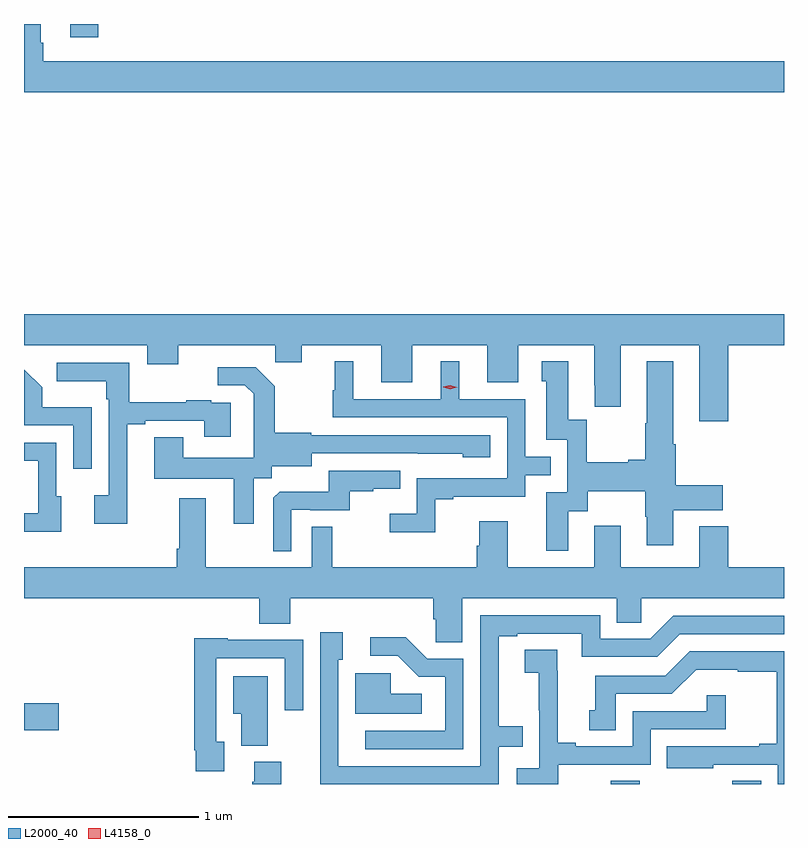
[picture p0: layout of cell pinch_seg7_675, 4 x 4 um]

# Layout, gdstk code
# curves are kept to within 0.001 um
import gdstk
lib = gdstk.Library(unit=1e-6, precision=1e-09)
def R(c, l, rs):  # rectangles x0, y0, x1, y1
    for r in rs: c.add(gdstk.rectangle(r[:2], r[2:], *l))
def P(c, l, *ps):  # polygons
    for p in ps: c.add(gdstk.Polygon(p, *l))
L2000_40 = (2000, 40)
L4158_0 = (4158, 0)

pinch_seg7_675 = lib.new_cell('pinch_seg7_675')
R(pinch_seg7_675, L2000_40, [(242.564,1026.279,242.717,1026.296), (243.203,1026.279,243.355,1026.296), (239.476,1026.562,239.659,1026.704), (239.72,1030.209,239.867,1030.279)])
P(pinch_seg7_675, L2000_40, [(243.476,1030.084),(239.576,1030.084),(239.576,1030.18),(239.563,1030.18),(239.563,1030.279),(239.476,1030.279),(239.476,1029.92),(243.476,1029.92)],
  [(243.182,1028.588),(243.476,1028.588),(243.476,1028.752),(239.476,1028.752),(239.476,1028.588),(240.125,1028.588),(240.125,1028.489),(240.289,1028.489),(240.289,1028.588),(240.799,1028.588),(240.799,1028.498),(240.937,1028.498),(240.937,1028.588),(241.355,1028.588),(241.355,1028.394),(241.519,1028.394),(241.519,1028.588),(241.913,1028.588),(241.913,1028.394),(242.077,1028.394),(242.077,1028.588),(242.477,1028.588),(242.477,1028.377),(242.48,1028.377),(242.48,1028.265),(242.617,1028.265),(242.617,1028.588),(243.029,1028.588),(243.029,1028.187),(243.182,1028.187)],
  [(242.341,1027.714),(242.443,1027.714),(242.443,1027.82),(242.746,1027.82),(242.746,1027.686),(242.753,1027.686),(242.753,1027.536),(242.893,1027.536),(242.893,1027.721),(243.154,1027.721),(243.154,1027.851),(242.906,1027.851),(242.906,1028.068),(242.893,1028.068),(242.893,1028.503),(242.753,1028.503),(242.753,1028.177),(242.746,1028.177),(242.746,1027.985),(242.657,1027.985),(242.657,1027.972),(242.439,1027.972),(242.439,1028.195),(242.341,1028.195),(242.341,1028.503),(242.201,1028.503),(242.201,1028.4),(242.225,1028.4),(242.225,1028.091),(242.334,1028.091),(242.334,1027.815),(242.225,1027.815),(242.225,1027.506),(242.341,1027.506)],
  [(241.641,1027.779),(241.735,1027.779),(241.735,1027.791),(242.115,1027.791),(242.115,1027.905),(242.249,1027.905),(242.249,1028.001),(242.115,1028.001),(242.115,1028.304),(241.768,1028.304),(241.768,1028.503),(241.67,1028.503),(241.67,1028.304),(241.21,1028.304),(241.21,1028.503),(241.112,1028.503),(241.112,1028.352),(241.101,1028.352),(241.101,1028.208),(242.019,1028.208),(242.019,1027.887),(241.542,1027.887),(241.542,1027.702),(241.401,1027.702),(241.401,1027.603),(241.641,1027.603)],
  [(240.019,1028.172),(240.115,1028.172),(240.115,1028.19),(240.425,1028.19),(240.425,1028.106),(240.565,1028.106),(240.565,1028.286),(240.461,1028.286),(240.461,1028.299),(240.329,1028.299),(240.329,1028.288),(240.031,1028.288),(240.031,1028.496),(239.649,1028.496),(239.649,1028.399),(239.91,1028.399),(239.91,1028.303),(239.922,1028.303),(239.922,1027.798),(239.847,1027.798),(239.847,1027.65),(240.019,1027.65)],
  [(240.685,1027.888),(240.78,1027.888),(240.78,1027.952),(240.991,1027.952),(240.991,1028.019),(241.785,1028.018),(241.785,1028),(241.93,1028),(241.93,1028.115),(240.987,1028.115),(240.987,1028.128),(240.795,1028.128),(240.795,1028.373),(240.695,1028.473),(240.495,1028.473),(240.495,1028.379),(240.639,1028.379),(240.686,1028.332),(240.686,1028.237),(240.684,1028.237),(240.684,1027.996),(240.313,1027.996),(240.313,1028.105),(240.161,1028.105),(240.161,1027.886),(240.581,1027.886),(240.581,1027.65),(240.685,1027.65)],
  [(239.832,1028.263),(239.571,1028.263),(239.571,1028.366),(239.476,1028.46),(239.476,1028.166),(239.736,1028.166),(239.736,1027.938),(239.832,1027.938)],
  [(239.671,1027.794),(239.646,1027.794),(239.646,1028.076),(239.476,1028.076),(239.476,1027.98),(239.55,1027.98),(239.55,1027.704),(239.476,1027.704),(239.476,1027.607),(239.671,1027.607)],
  [(240.882,1027.722),(240.982,1027.722),(240.982,1027.719),(241.19,1027.719),(241.19,1027.821),(241.313,1027.821),(241.313,1027.832),(241.457,1027.832),(241.457,1027.929),(241.08,1027.929),(241.08,1027.817),(240.821,1027.817),(240.789,1027.785),(240.789,1027.505),(240.882,1027.505)],
  [(241.783,1027.256),(242.597,1027.256),(242.597,1027.129),(242.724,1027.129),(242.724,1027.256),(243.476,1027.256),(243.476,1027.42),(243.182,1027.42),(243.182,1027.636),(243.029,1027.636),(243.029,1027.42),(242.617,1027.42),(242.617,1027.639),(242.477,1027.639),(242.477,1027.42),(242.023,1027.42),(242.023,1027.663),(241.871,1027.663),(241.871,1027.533),(241.859,1027.533),(241.859,1027.42),(241.099,1027.42),(241.099,1027.634),(240.99,1027.634),(240.99,1027.42),(240.433,1027.42),(240.433,1027.783),(240.293,1027.783),(240.293,1027.516),(240.281,1027.516),(240.281,1027.42),(239.476,1027.42),(239.476,1027.256),(240.713,1027.256),(240.713,1027.123),(240.878,1027.123),(240.878,1027.256),(241.631,1027.256),(241.631,1027.147),(241.644,1027.147),(241.644,1027.024),(241.783,1027.024)],
  [(241.974,1026.474),(242.102,1026.474),(242.102,1026.583),(241.975,1026.583),(241.975,1027.056),(242.071,1027.056),(242.071,1027.071),(242.412,1027.071),(242.412,1026.948),(242.808,1026.948),(242.928,1027.068),(243.476,1027.068),(243.476,1027.164),(242.892,1027.164),(242.772,1027.044),(242.508,1027.044),(242.508,1027.167),(241.878,1027.167),(241.878,1026.372),(241.131,1026.372),(241.131,1026.933),(241.153,1026.933),(241.153,1027.078),(241.035,1027.078),(241.034,1026.279),(241.974,1026.279)],
  [(241.788,1026.939),(241.599,1026.939),(241.486,1027.052),(241.299,1027.052),(241.299,1026.954),(241.443,1026.954),(241.554,1026.843),(241.692,1026.843),(241.692,1026.558),(241.272,1026.558),(241.272,1026.462),(241.788,1026.462)],
  [(240.529,1026.501),(240.489,1026.501),(240.489,1026.942),(240.849,1026.942),(240.849,1026.666),(240.945,1026.666),(240.945,1027.038),(240.549,1027.038),(240.549,1027.045),(240.373,1027.045),(240.373,1026.457),(240.381,1026.457),(240.381,1026.345),(240.529,1026.345)],
  [(242.288,1026.381),(242.775,1026.381),(242.775,1026.567),(243.17,1026.567),(243.17,1026.745),(243.069,1026.745),(243.069,1026.663),(242.679,1026.663),(242.679,1026.477),(242.38,1026.477),(242.38,1026.497),(242.284,1026.497),(242.284,1026.875),(242.282,1026.875),(242.282,1026.986),(242.112,1026.986),(242.112,1026.865),(242.186,1026.865),(242.186,1026.667),(242.187,1026.667),(242.187,1026.363),(242.07,1026.363),(242.07,1026.279),(242.288,1026.279)],
  [(243.476,1026.978),(242.979,1026.978),(242.85,1026.849),(242.483,1026.849),(242.483,1026.666),(242.45,1026.666),(242.45,1026.562),(242.59,1026.562),(242.59,1026.753),(242.886,1026.753),(243.014,1026.881),(243.233,1026.881),(243.233,1026.87),(243.439,1026.87),(243.439,1026.49),(243.347,1026.49),(243.347,1026.477),(242.86,1026.477),(242.86,1026.362),(243.103,1026.362),(243.103,1026.381),(243.444,1026.381),(243.444,1026.279),(243.476,1026.279)],
  [(241.57,1026.754),(241.407,1026.754),(241.407,1026.861),(241.22,1026.861),(241.22,1026.65),(241.57,1026.65)],
  [(240.76,1026.847),(240.578,1026.847),(240.578,1026.65),(240.62,1026.65),(240.62,1026.481),(240.76,1026.481)],
  [(240.829,1026.396),(240.689,1026.396),(240.689,1026.29),(240.677,1026.29),(240.677,1026.279),(240.829,1026.279)])
P(pinch_seg7_675, L4158_0, [(241.719,1028.357),(241.683,1028.368),(241.683,1028.369),(241.683,1028.369),(241.719,1028.377),(241.754,1028.366),(241.755,1028.366),(241.754,1028.366)])

lib.write_gds('pinch_seg7_675.gds')
